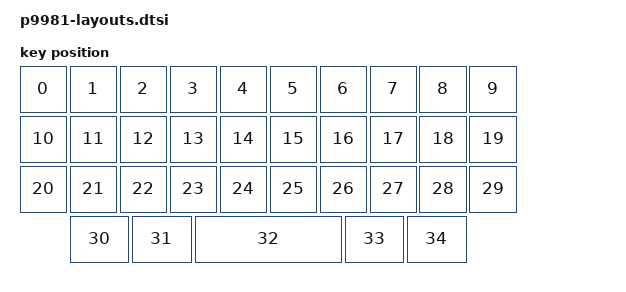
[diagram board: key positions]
#include <physical_layouts.dtsi>
#include <dt-bindings/zmk/matrix_transform.h>

/ {
    p9981_layout: p9981_layout {
        compatible = "zmk,physical-layout";
        display-name = "p9981";

        kscan = <&kscan0>;
        transform = <&matrix_transform0>;

        keys  //                     w   h    x    y     rot    rx    ry
            = <&key_physical_attrs 100 100    0    0       0     0     0>
            , <&key_physical_attrs 100 100  100    0       0     0     0>
            , <&key_physical_attrs 100 100  200    0       0     0     0>
            , <&key_physical_attrs 100 100  300    0       0     0     0>
            , <&key_physical_attrs 100 100  400    0       0     0     0>
            , <&key_physical_attrs 100 100  500    0       0     0     0>
            , <&key_physical_attrs 100 100  600    0       0     0     0>
            , <&key_physical_attrs 100 100  700    0       0     0     0>
            , <&key_physical_attrs 100 100  800    0       0     0     0>
            , <&key_physical_attrs 100 100  900    0       0     0     0>
            , <&key_physical_attrs 100 100    0  100       0     0     0>
            , <&key_physical_attrs 100 100  100  100       0     0     0>
            , <&key_physical_attrs 100 100  200  100       0     0     0>
            , <&key_physical_attrs 100 100  300  100       0     0     0>
            , <&key_physical_attrs 100 100  400  100       0     0     0>
            , <&key_physical_attrs 100 100  500  100       0     0     0>
            , <&key_physical_attrs 100 100  600  100       0     0     0>
            , <&key_physical_attrs 100 100  700  100       0     0     0>
            , <&key_physical_attrs 100 100  800  100       0     0     0>
            , <&key_physical_attrs 100 100  900  100       0     0     0>
            , <&key_physical_attrs 100 100    0  200       0     0     0>
            , <&key_physical_attrs 100 100  100  200       0     0     0>
            , <&key_physical_attrs 100 100  200  200       0     0     0>
            , <&key_physical_attrs 100 100  300  200       0     0     0>
            , <&key_physical_attrs 100 100  400  200       0     0     0>
            , <&key_physical_attrs 100 100  500  200       0     0     0>
            , <&key_physical_attrs 100 100  600  200       0     0     0>
            , <&key_physical_attrs 100 100  700  200       0     0     0>
            , <&key_physical_attrs 100 100  800  200       0     0     0>
            , <&key_physical_attrs 100 100  900  200       0     0     0>
            , <&key_physical_attrs 125 100  100  300       0     0     0>
            , <&key_physical_attrs 125 100  225  300       0     0     0>
            , <&key_physical_attrs 300 100  350  300       0     0     0>
            , <&key_physical_attrs 125 100  650  300       0     0     0>
            , <&key_physical_attrs 125 100  775  300       0     0     0>
            ;
    };
};
